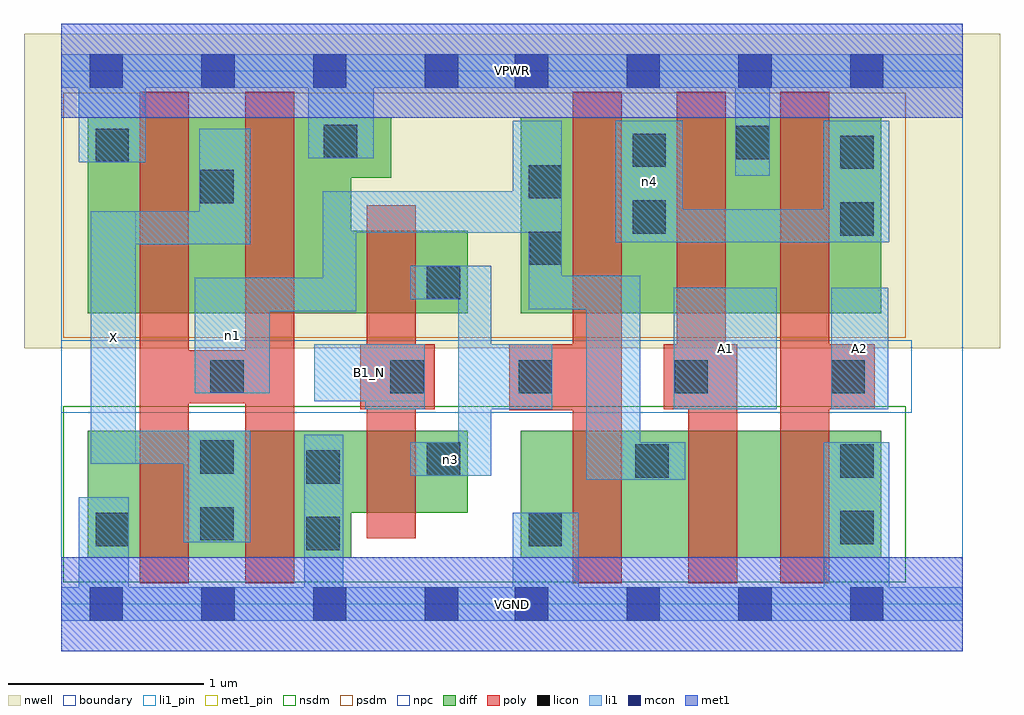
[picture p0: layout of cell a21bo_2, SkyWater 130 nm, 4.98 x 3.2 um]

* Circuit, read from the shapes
.subckt a21bo_2 A1 A2 B1_N VGND VPWR X n1 n3 n4
XM1 X n1 VGND VSUBS sky130_fd_pr__nfet_01v8 w=0.65 l=0.25 m=2
XM2 n3 B1_N VGND VSUBS sky130_fd_pr__nfet_01v8 w=0.42 l=0.25
XM3 n1 n3 VGND VSUBS sky130_fd_pr__nfet_01v8 w=0.65 l=0.25
XM4 n2 A1 n1 VSUBS sky130_fd_pr__nfet_01v8 w=0.65 l=0.25
XM5 VGND A2 n2 VSUBS sky130_fd_pr__nfet_01v8 w=0.65 l=0.25
XM6 X n1 VPWR n5 sky130_fd_pr__pfet_01v8 w=1 l=0.25 m=2
XM7 n3 B1_N VPWR n5 sky130_fd_pr__pfet_01v8 w=0.42 l=0.25
XM8 n4 n3 n1 n5 sky130_fd_pr__pfet_01v8 w=1 l=0.25
XM9 VPWR A1 n4 n5 sky130_fd_pr__pfet_01v8 w=1 l=0.25
XM10 n4 A2 VPWR n5 sky130_fd_pr__pfet_01v8 w=1 l=0.25
.ends

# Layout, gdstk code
import gdstk
lib = gdstk.Library(unit=1e-6, precision=1e-09)
def R(c, l, rs):  # rectangles x0, y0, x1, y1
    for r in rs: c.add(gdstk.rectangle(r[:2], r[2:], *l))
def A(c, l, x, y, w, h, nx, ny, dx, dy):  # array of equal rectangles
    R(c, l, [(x+i*dx, y+j*dy, x+i*dx+w, y+j*dy+h) for i in range(nx) for j in range(ny)])
nwell = (64, 20)
diff = (65, 20)
poly = (66, 20)
licon = (66, 44)
li1_pin = (67, 16)
li1 = (67, 20)
mcon = (67, 44)
met1_pin = (68, 16)
met1 = (68, 20)
nsdm = (93, 44)
psdm = (94, 20)
npc = (95, 20)
boundary = (235, 4)

a21bo_2 = lib.new_cell('a21bo_2')
R(a21bo_2, nwell, [(-0.19,1.305,4.79,2.91), (0,1.305,4.6,2.91)])
R(a21bo_2, diff, [(0.135,0.235,1.48,0.885), (2.345,0.235,4.185,0.885), (0.135,0.465,2.075,0.885), (0.135,1.485,2.075,1.905), (0.135,1.485,1.48,2.485), (2.345,1.485,4.185,2.485), (0.135,2.175,1.685,2.485)])
R(a21bo_2, poly, [(0.4,0.105,0.65,2.615), (0.94,0.105,1.19,2.615), (2.61,0.105,2.86,2.615), (3.2,0.105,3.45,1.325), (3.67,0.105,3.92,2.615), (1.56,0.335,1.81,2.035), (2.285,0.99,2.86,1.325), (1.525,0.995,1.905,1.325), (3.075,0.995,3.45,1.325), (3.14,0.995,3.39,2.615), (3.67,0.995,4.15,1.325), (0.4,1.025,1.19,1.295)])
R(a21bo_2, licon, [(1.25,0.275,1.42,0.445), (0.175,0.295,0.345,0.465), (2.385,0.295,2.555,0.465), (3.975,0.305,4.145,0.475), (0.71,0.325,0.88,0.495), (1.25,0.615,1.42,0.785), (2.93,0.645,3.1,0.815), (3.975,0.645,4.145,0.815), (1.865,0.655,2.035,0.825), (0.71,0.665,0.88,0.835), (0.76,1.075,0.93,1.245), (1.68,1.075,1.85,1.245), (2.335,1.075,2.505,1.245), (3.13,1.075,3.3,1.245), (3.93,1.075,4.1,1.245), (1.865,1.555,2.035,1.725), (2.385,1.73,2.555,1.9), (3.975,1.88,4.145,2.05), (2.915,1.89,3.085,2.06), (0.71,2.045,0.88,2.215), (2.385,2.07,2.555,2.24), (3.975,2.22,4.145,2.39), (2.915,2.23,3.085,2.4), (0.175,2.255,0.345,2.425), (3.445,2.27,3.615,2.44), (1.34,2.275,1.51,2.445)])
R(a21bo_2, li1_pin, [(0.15,0.715,0.38,2.005), (3.125,0.995,3.65,1.615), (3.93,0.995,4.22,1.615), (1.29,1.035,1.855,1.325)])
R(a21bo_2, li1, [(0,-0.085,4.6,0.085), (0.09,-0.085,0.345,0.545), (1.24,-0.085,1.44,0.865), (2.305,-0.085,2.64,0.465), (3.89,-0.085,4.225,0.825), (0.625,0.315,0.965,0.885), (2.68,0.635,2.955,1.675), (2.68,0.635,3.185,0.825), (1.78,0.655,2.195,0.825), (2.025,0.655,2.195,1.725), (0.15,0.715,0.38,2.005), (0.15,0.715,0.965,0.885), (1.55,0.995,1.855,1.325), (2.025,0.995,2.505,1.325), (3.125,0.995,3.65,1.615), (3.93,0.995,4.22,1.615), (1.29,1.035,1.855,1.325), (0.68,1.075,1.065,1.665), (0.68,1.495,1.505,1.665), (1.335,1.495,1.505,2.105), (2.385,1.505,2.555,2.465), (2.385,1.505,2.955,1.675), (1.78,1.555,2.195,1.725), (0.15,1.835,0.965,2.005), (0.705,1.835,0.965,2.425), (2.83,1.845,3.17,2.465), (2.83,1.845,4.225,2.015), (3.89,1.845,4.225,2.465), (1.335,1.895,2.555,2.105), (2.305,1.895,2.555,2.465), (3.44,2.185,3.615,2.805), (0.09,2.255,0.43,2.805), (1.26,2.275,1.595,2.805), (0,2.635,4.6,2.805)])
A(a21bo_2, mcon, 0.145, -0.085, 0.17, 0.17, 4, 2, 0.57, 2.72)
A(a21bo_2, mcon, 2.315, -0.085, 0.17, 0.17, 4, 2, 0.57, 2.72)
R(a21bo_2, met1_pin, [(0,-0.24,4.6,0.24), (0,2.48,4.6,2.96)])
R(a21bo_2, met1, [(0,-0.24,4.6,0.24), (0,2.48,4.6,2.96)])
R(a21bo_2, nsdm, [(0.01,0.11,4.31,1.01)])
R(a21bo_2, psdm, [(0.01,1.36,4.31,2.61)])
R(a21bo_2, npc, [(0,0.975,4.34,1.345)])
R(a21bo_2, boundary, [(0,0,4.6,2.72)])
a21bo_2.add(gdstk.Label('A1', (3.387,1.305), layer=67, texttype=5))
a21bo_2.add(gdstk.Label('A2', (4.075,1.305), layer=67, texttype=5))
a21bo_2.add(gdstk.Label('B1_N', (1.572,1.18), layer=67, texttype=5))
a21bo_2.add(gdstk.Label('X', (0.265,1.36), layer=67, texttype=5))
a21bo_2.add(gdstk.Label('n3', (1.987,0.74), layer=67, texttype=5))
a21bo_2.add(gdstk.Label('n1', (0.872,1.37), layer=67, texttype=5))
a21bo_2.add(gdstk.Label('n4', (3,2.155), layer=67, texttype=5))
a21bo_2.add(gdstk.Label('VPWR', (2.3,2.72), layer=68, texttype=5))
a21bo_2.add(gdstk.Label('VGND', (2.3,0), layer=68, texttype=5))
a21bo_2.add(gdstk.Label('A1', (3.387,1.305), layer=67, texttype=16))
a21bo_2.add(gdstk.Label('A2', (4.075,1.305), layer=67, texttype=16))
a21bo_2.add(gdstk.Label('B1_N', (1.572,1.18), layer=67, texttype=16))
a21bo_2.add(gdstk.Label('X', (0.265,1.36), layer=67, texttype=16))
a21bo_2.add(gdstk.Label('VPWR', (2.3,2.72), layer=68, texttype=16))
a21bo_2.add(gdstk.Label('VGND', (2.3,0), layer=68, texttype=16))

lib.write_gds('a21bo_2.gds')
